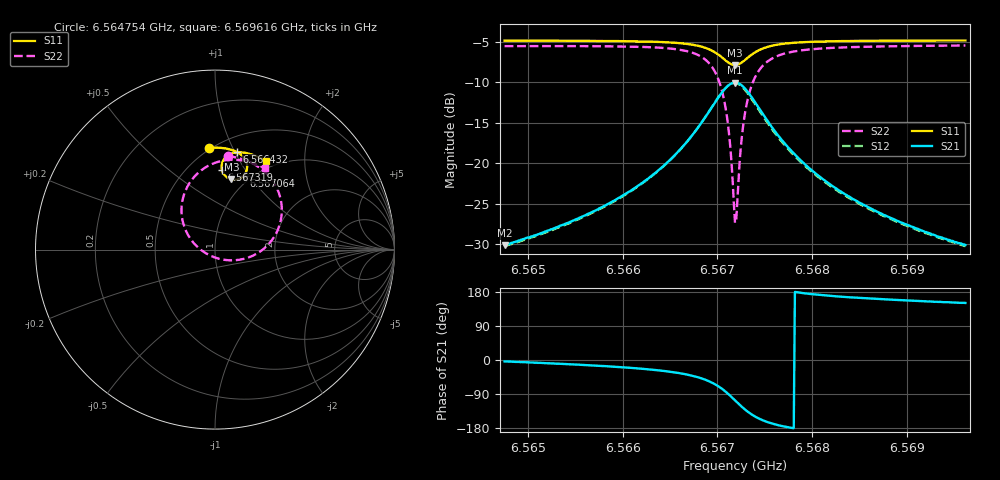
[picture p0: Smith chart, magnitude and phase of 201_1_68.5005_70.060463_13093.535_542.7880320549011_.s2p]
#  HZ  S  RI  R  50.00
! Rohde & Schwarz Vector Network Analyzer
! Rohde-Schwarz,ZNB20-2Port,1311601062101988,3.16
! Created: UTC 3/20/2024, 5:12:44 PM
! freq[Hz]  re:S11  im:S11  re:S21  im:S21  re:S12  im:S12  re:S22  im:S22
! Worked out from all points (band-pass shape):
!   401 points, 6.564754 GHz to 6.569616 GHz, reference 50 ohm
!   highest |S21| = -10.06 dB at 6.567185 GHz (marker M1); lowest = -30.1 dB at 6.564754 GHz (marker M2)
!   |S21| within 3 dB of the highest: 6.566944 GHz to 6.567429 GHz (485.3 kHz wide, 0.00739 % of centre)
!   lowest |S11| = -7.9 dB at 6.567185 GHz (marker M3), VSWR 2.34, Z = 42.9 + j40 ohm
!   |S11| at or under -10 dB: nowhere
!   |S22| runs from -27.3 to -5.5 dB; largest |S21 - S12| = 0.016
!   S11 on the Smith chart (normalised r, x): 6.564754 GHz: 0.49, +0.82; 6.566432 GHz: 0.65, +1.02; 6.567064 GHz: 0.92, +0.94; 6.567319 GHz: 0.71, +0.79; 6.569616 GHz: 0.89, +1.30
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6.5647544e9  -0.0318 0.5682  0.0311 -0.00216  0.0307 -0.00255  0.07 0.5217
6.5655688e9  0.0364 0.5665  0.0456 -0.0104  0.0449 -0.0109  0.1517 0.5041
6.5663831e9  0.1168 0.5465  0.0807 -0.0418  0.0797 -0.0429  0.2718 0.4376
6.5664318e9  0.1224 0.5437  0.0845 -0.0465  0.0831 -0.0475  0.2819 0.4287
6.566687e9  0.1547 0.5203  0.107 -0.0863  0.1053 -0.0881  0.3406 0.3506
6.5668693e9  0.1759 0.4838  0.1182 -0.1501  0.1152 -0.1534  0.3723 0.2276
6.5669787e9  0.1774 0.4464  0.1023 -0.2156  0.0964 -0.2201  0.3465 0.1025
6.5670638e9  0.1591 0.4115  0.0535 -0.2752  0.043 -0.2784  0.2555 -0.00783
6.5671246e9  0.1299 0.3929  -0.0102 -0.304  -0.024 -0.3035  0.1368 -0.0566
6.5671732e9  0.0996 0.3899  -0.073 -0.305  -0.0871 -0.2994  0.0236 -0.0514
6.5671854e9  0.0919 0.391  -0.0887 -0.3012  -0.1027 -0.2945  -0.00397 -0.0427
6.5671975e9  0.0844 0.3932  -0.104 -0.296  -0.1175 -0.2879  -0.0307 -0.0313
6.5672097e9  0.0772 0.3962  -0.1188 -0.2892  -0.1315 -0.28  -0.0556 -0.0174
6.5672461e9  0.0585 0.4094  -0.157 -0.2616  -0.1667 -0.2497  -0.1188 0.0366
6.5672704e9  0.049 0.4203  -0.176 -0.2391  -0.1838 -0.2261  -0.1491 0.0792
6.5673191e9  0.0385 0.445  -0.1993 -0.1905  -0.2028 -0.1772  -0.1819 0.1674
6.5674041e9  0.0402 0.4833  -0.203 -0.1164  -0.2017 -0.1057  -0.1757 0.297
6.5675257e9  0.0617 0.5168  -0.1756 -0.0516  -0.1721 -0.045  -0.1147 0.4066
6.567708e9  0.0968 0.5368  -0.1324 -0.00991  -0.1291 -0.00662  -0.0248 0.4732
6.5679997e9  0.1401 0.5421  -0.0895 0.00986  -0.0873 0.0113  0.0705 0.4992
6.5688141e9  0.2206 0.5244  -0.0434 0.0163  -0.0424 0.0167  0.2032 0.4845
6.5696163e9  0.2819 0.4962  -0.0273 0.0154  -0.0266 0.0156  0.2794 0.4522
